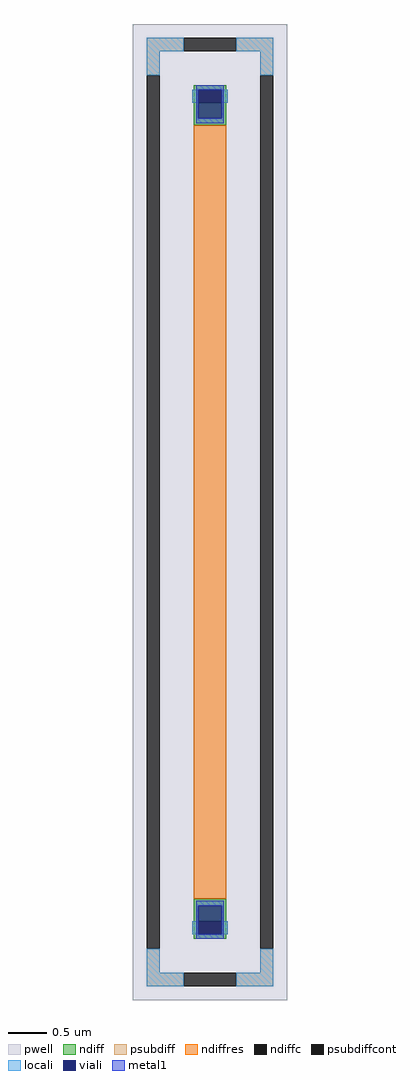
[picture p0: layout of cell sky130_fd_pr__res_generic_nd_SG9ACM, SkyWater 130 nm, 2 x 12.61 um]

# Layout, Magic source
magic
tech sky130A
magscale 1 2
<< pwell >>
rect -200 -1261 200 1261
<< ndiff >>
rect -42 1091 42 1103
rect -42 1057 -30 1091
rect 30 1057 42 1091
rect -42 1000 42 1057
rect -42 -1057 42 -1000
rect -42 -1091 -30 -1057
rect 30 -1091 42 -1057
rect -42 -1103 42 -1091
<< ndiffc >>
rect -30 1057 30 1091
rect -30 -1091 30 -1057
<< psubdiff >>
rect -164 1191 -68 1225
rect 68 1191 164 1225
rect -164 1129 -130 1191
rect 130 1129 164 1191
rect -164 -1191 -130 -1129
rect 130 -1191 164 -1129
rect -164 -1225 -68 -1191
rect 68 -1225 164 -1191
<< psubdiffcont >>
rect -68 1191 68 1225
rect -164 -1129 -130 1129
rect 130 -1129 164 1129
rect -68 -1225 68 -1191
<< ndiffres >>
rect -42 -1000 42 1000
<< locali >>
rect -164 1191 -68 1225
rect 68 1191 164 1225
rect -164 1129 -130 1191
rect 130 1129 164 1191
rect -46 1057 -30 1091
rect 30 1057 46 1091
rect -46 -1091 -30 -1057
rect 30 -1091 46 -1057
rect -164 -1191 -130 -1129
rect 130 -1191 164 -1129
rect -164 -1225 -68 -1191
rect 68 -1225 164 -1191
<< viali >>
rect -30 1057 30 1091
rect -30 1017 30 1057
rect -30 -1057 30 -1017
rect -30 -1091 30 -1057
<< metal1 >>
rect -36 1091 36 1103
rect -36 1017 -30 1091
rect 30 1017 36 1091
rect -36 1005 36 1017
rect -36 -1017 36 -1005
rect -36 -1091 -30 -1017
rect 30 -1091 36 -1017
rect -36 -1103 36 -1091
<< properties >>
string FIXED_BBOX -147 -1208 147 1208
string gencell sky130_fd_pr__res_generic_nd
string library sky130
string parameters w 0.420 l 10 m 1 nx 1 wmin 0.42 lmin 2.10 rho 120 val 3.243k dummy 0 dw 0.05 term 0.0 sterm 0.0 caplen 0.4 snake 0 guard 1 glc 1 grc 1 gtc 1 gbc 1 roverlap 0 endcov 100 full_metal 1 vias 1 viagb 0 viagt 0 viagl 0 viagr 0
<< end >>
